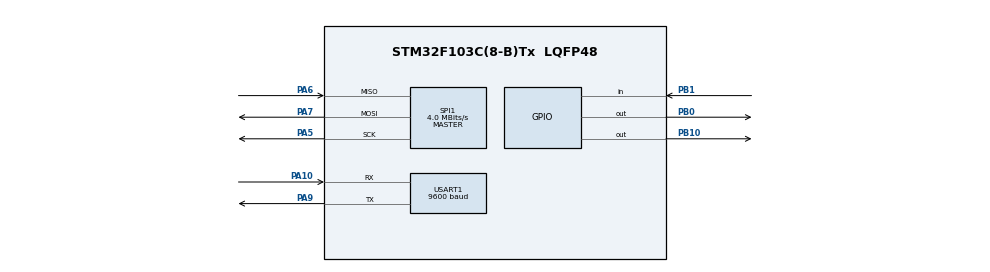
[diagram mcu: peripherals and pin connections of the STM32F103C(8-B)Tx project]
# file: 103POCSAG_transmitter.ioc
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Mcu.Family=STM32F1
Mcu.Name=STM32F103C(8-B)Tx
Mcu.Package=LQFP48
NVIC.PriorityGroup=NVIC_PRIORITYGROUP_4
PA10.Mode=Asynchronous
PA10.Signal=USART1_RX
PA5.Mode=Full_Duplex_Master
PA5.Signal=SPI1_SCK
PA6.Mode=Full_Duplex_Master
PA6.Signal=SPI1_MISO
PA7.Mode=Full_Duplex_Master
PA7.Signal=SPI1_MOSI
PA9.Mode=Asynchronous
PA9.Signal=USART1_TX
PB0.Signal=GPIO_Output
PB1.Signal=GPIO_Input
PB10.Signal=GPIO_Output
PC14-OSC32_IN.Mode=LSE-External-Oscillator
PC14-OSC32_IN.Signal=RCC_OSC32_IN
PC15-OSC32_OUT.Mode=LSE-External-Oscillator
PC15-OSC32_OUT.Signal=RCC_OSC32_OUT
PD0-OSC_IN.Mode=HSE-External-Oscillator
PD0-OSC_IN.Signal=RCC_OSC_IN
PD1-OSC_OUT.Mode=HSE-External-Oscillator
PD1-OSC_OUT.Signal=RCC_OSC_OUT
ProjectManager.HeapSize=0x200
ProjectManager.StackSize=0x400
ProjectManager.TargetToolchain=STM32CubeIDE
RCC.APB1Freq_Value=8000000
RCC.APB2Freq_Value=8000000
SPI1.CalculateBaudRate=4.0 MBits/s
SPI1.Direction=SPI_DIRECTION_2LINES
SPI1.Mode=SPI_MODE_MASTER
SPI1.VirtualType=VM_MASTER
USART1.BaudRate=9600
USART1.VirtualMode=VM_ASYNC
VP_SYS_VS_ND.Mode=No_Debug
board=custom

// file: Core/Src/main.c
/* USER CODE BEGIN Header */
/**
  ******************************************************************************
  * @file           : main.c
  * @brief          : Main program body
  ******************************************************************************
  * @attention
  *
  * Copyright (c) 2025 STMicroelectronics.
  * All rights reserved.
  *
  * This software is licensed under terms that can be found in the LICENSE file
  * in the root directory of this software component.
  * If no LICENSE file comes with this software, it is provided AS-IS.
  *
  ******************************************************************************
  */
/* USER CODE END Header */
#include "main.h"

/* USER CODE BEGIN Includes */
#include "pocsag.h"
#include "si4463_driver.h"
#include <string.h>
#include <stdio.h>
#include <stdarg.h>
/* USER CODE END Includes */

/* USER CODE BEGIN PD */
#define TXBUFLEN 256
#define SI4463_SDN_PORT    GPIOB
#define SI4463_SDN_PIN     GPIO_PIN_0
#define SI4463_NIRQ_PORT   GPIOB
#define SI4463_NIRQ_PIN    GPIO_PIN_1
#define SI4463_CS_PORT     GPIOB
#define SI4463_CS_PIN      GPIO_PIN_10
/* USER CODE END PD */

SPI_HandleTypeDef hspi1;

UART_HandleTypeDef huart1;

/* USER CODE BEGIN PV */
static char txBuff[TXBUFLEN];
Pocsag_t pocsag;
/* USER CODE END PV */

void SystemClock_Config(void);
static void MX_GPIO_Init(void);
static void MX_SPI1_Init(void);
static void MX_USART1_UART_Init(void);
/* USER CODE BEGIN PFP */
void setupSI4463(void);
void processPOCSAGCommand(void);
void parseAndSendPOCSAG(char* command);
void parseAndSetFrequency(char* command);
void transmitPOCSAGWithSI4463(long address, int addresssource, int repeat, char* textmsg);
void uart_print(const char* message);
void uart_printf(const char* format, ...);
/* USER CODE END PFP */

/* USER CODE BEGIN 0 */
// Simple UART print function
void uart_print(const char* message) {
    HAL_UART_Transmit(&huart1, (uint8_t*)message, strlen(message), HAL_MAX_DELAY);
}

// Formatted UART print function
void uart_printf(const char* format, ...) {
    va_list args;
    va_start(args, format);
    int len = vsnprintf(txBuff, TXBUFLEN, format, args);
    va_end(args);

    if (len > 0 && len < TXBUFLEN) {
        HAL_UART_Transmit(&huart1, (uint8_t*)txBuff, len, HAL_MAX_DELAY);
    }
}

// Initialize SI4463
void setupSI4463(void) {
    // Initialize SI4463
    Si4463_Init(&hspi1,
                SI4463_SDN_PORT, SI4463_SDN_PIN,
                SI4463_NIRQ_PORT, SI4463_NIRQ_PIN,
                SI4463_CS_PORT, SI4463_CS_PIN);

    // Set default POCSAG frequency
    Si4463_SetFrequency(433.920f);

    // Configure for POCSAG
    Si4463_ConfigureForPOCSAG();

    uart_print("SI4463 initialized for POCSAG at 433.92 MHz\r\n");
}

// Command processing
void processPOCSAGCommand(void) {
    static uint8_t rx_buffer[256];
    static uint16_t rx_index = 0;
    uint8_t byte;

    while (HAL_UART_Receive(&huart1, &byte, 1, 0) == HAL_OK) {
        if (byte == '\r' || byte == '\n') {
            if (rx_index > 0) {
                rx_buffer[rx_index] = '\0';

                // Echo the command
                uart_print("\r\n");

                // Process command
                if (rx_buffer[0] == 'P' || rx_buffer[0] == 'p') {
                    parseAndSendPOCSAG((char*)rx_buffer);
                } else if (rx_buffer[0] == 'F' || rx_buffer[0] == 'f') {
                    parseAndSetFrequency((char*)rx_buffer);
                } else {
                    uart_print("Unknown command. Use P or F.\r\n");
                }

                rx_index = 0;
            }
        } else if (rx_index < sizeof(rx_buffer) - 1) {
            // Echo character back
            HAL_UART_Transmit(&huart1, &byte, 1, HAL_MAX_DELAY);
            rx_buffer[rx_index++] = byte;
        }
    }
}

void parseAndSendPOCSAG(char* command) {
    long address = 0;
    int addresssource = 0;
    int repeat = 0;
    char textmsg[42] = {0};

    // Parse command: P <address> <source> <repeat> <message>
    if (sscanf(command, "%*c %ld %d %d %40[^\n]",
               &address, &addresssource, &repeat, textmsg) == 4) {

        uart_printf("address: %ld\r\n", address);
        uart_printf("addresssource: %d\r\n", addresssource);
        uart_printf("repeat: %d\r\n", repeat);
        uart_printf("message: %s\r\n", textmsg);

        transmitPOCSAGWithSI4463(address, addresssource, repeat, textmsg);
    } else {
        uart_print("Invalid P command format. Use: P <address> <source> <repeat> <message>\r\n");
        uart_print("Example: P 123456 0 1 \"Hello World\"\r\n");
    }
}

void transmitPOCSAGWithSI4463(long address, int addresssource, int repeat, char* textmsg) {
    int rc = Pocsag_CreatePocsag(&pocsag, address, addresssource, textmsg, 0, 1);

    if (!rc) {
        uart_printf("Error in createpocsag! Error: %d\r\n", Pocsag_GetError(&pocsag));
        HAL_Delay(10000);
    } else {
        uint8_t* pocsagData = (uint8_t*)Pocsag_GetMsgPointer(&pocsag);
        uint16_t pocsagSize = Pocsag_GetSize(&pocsag);

        uart_printf("POCSAG message created: %d bytes\r\n", pocsagSize);

        for (int l = -1; l < repeat; l++) {
            uart_printf("POCSAG SEND with SI4463 (transmission %d)\r\n", l + 2);

            // Transmit using SI4463
            Si4463_TransmitPOCSAG(pocsagData, pocsagSize);

            HAL_Delay(3000);
        }

        uart_print("Transmission complete\r\n");
    }
}

void parseAndSetFrequency(char* command) {
    int freq1 = 0, freq2 = 0;

    if (sscanf(command, "%*c %d %d", &freq1, &freq2) == 2) {
        float newfreq = (float)freq1 + ((float)freq2) / 10000.0F;

        // Validate frequency range
        if ((newfreq >= 135.0F && newfreq <= 175.0F) ||
            (newfreq >= 400.0F && newfreq <= 470.0F) ||
            (newfreq >= 850.0F && newfreq <= 930.0F)) {

            uart_printf("Switching to new frequency: %.4f MHz\r\n", newfreq);

            // Update SI4463 frequency
            Si4463_SetFrequency(newfreq);

            uart_print("Frequency set successfully\r\n");
        } else {
            uart_print("Error: invalid frequency range.\r\n");
            uart_print("Valid ranges: 135-175 MHz, 400-470 MHz, 850-930 MHz\r\n");
        }
    } else {
        uart_print("Invalid F command format. Use: F <freqmhz> <freq100Hz>\r\n");
        uart_print("Example: F 433 9200 for 433.9200 MHz\r\n");
    }
}
/* USER CODE END 0 */

int main(void)
{

  /* MCU Configuration--------------------------------------------------------*/

  /* Reset of all peripherals, Initializes the Flash interface and the Systick. */
  HAL_Init();

  /* Configure the system clock */
  SystemClock_Config();

  /* Initialize all configured peripherals */
  MX_GPIO_Init();
  MX_SPI1_Init();
  MX_USART1_UART_Init();
  /* USER CODE BEGIN 2 */
  // Initialize POCSAG
  Pocsag_Init(&pocsag);

  setupSI4463();

  uart_print("\r\nPOCSAG text-message tool v0.1 (STM32F103 + SI4463)\r\n");
  uart_print("https://github.com/on1arf/pocsag\r\n");
  uart_print("Format:\r\n");
  uart_print("P <address> <source> <repeat> <message>\r\n");
  uart_print("F <freqmhz> <freq100Hz>\r\n");
  /* USER CODE END 2 */

  /* Infinite loop */
  /* USER CODE BEGIN WHILE */
  while (1)
  {
    processPOCSAGCommand();
    HAL_Delay(100);
    /* USER CODE END WHILE */

  }
}

void SystemClock_Config(void)
{
  RCC_OscInitTypeDef RCC_OscInitStruct = {0};
  RCC_ClkInitTypeDef RCC_ClkInitStruct = {0};

  /** Initializes the RCC Oscillators according to the specified parameters
  * in the RCC_OscInitTypeDef structure.
  */
  RCC_OscInitStruct.OscillatorType = RCC_OSCILLATORTYPE_HSI;
  RCC_OscInitStruct.HSIState = RCC_HSI_ON;
  RCC_OscInitStruct.HSICalibrationValue = RCC_HSICALIBRATION_DEFAULT;
  RCC_OscInitStruct.PLL.PLLState = RCC_PLL_NONE;
  if (HAL_RCC_OscConfig(&RCC_OscInitStruct) != HAL_OK)
  {
    Error_Handler();
  }

  /** Initializes the CPU, AHB and APB buses clocks
  */
  RCC_ClkInitStruct.ClockType = RCC_CLOCKTYPE_HCLK|RCC_CLOCKTYPE_SYSCLK
                              |RCC_CLOCKTYPE_PCLK1|RCC_CLOCKTYPE_PCLK2;
  RCC_ClkInitStruct.SYSCLKSource = RCC_SYSCLKSOURCE_HSI;
  RCC_ClkInitStruct.AHBCLKDivider = RCC_SYSCLK_DIV1;
  RCC_ClkInitStruct.APB1CLKDivider = RCC_HCLK_DIV1;
  RCC_ClkInitStruct.APB2CLKDivider = RCC_HCLK_DIV1;

  if (HAL_RCC_ClockConfig(&RCC_ClkInitStruct, FLASH_LATENCY_0) != HAL_OK)
  {
    Error_Handler();
  }
}

static void MX_SPI1_Init(void)
{

  /* SPI1 parameter configuration*/
  hspi1.Instance = SPI1;
  hspi1.Init.Mode = SPI_MODE_MASTER;
  hspi1.Init.Direction = SPI_DIRECTION_2LINES;
  hspi1.Init.DataSize = SPI_DATASIZE_8BIT;
  hspi1.Init.CLKPolarity = SPI_POLARITY_LOW;
  hspi1.Init.CLKPhase = SPI_PHASE_1EDGE;
  hspi1.Init.NSS = SPI_NSS_SOFT;
  hspi1.Init.BaudRatePrescaler = SPI_BAUDRATEPRESCALER_2;
  hspi1.Init.FirstBit = SPI_FIRSTBIT_MSB;
  hspi1.Init.TIMode = SPI_TIMODE_DISABLE;
  hspi1.Init.CRCCalculation = SPI_CRCCALCULATION_DISABLE;
  hspi1.Init.CRCPolynomial = 10;
  if (HAL_SPI_Init(&hspi1) != HAL_OK)
  {
    Error_Handler();
  }

}

static void MX_USART1_UART_Init(void)
{

  huart1.Instance = USART1;
  huart1.Init.BaudRate = 9600;
  huart1.Init.WordLength = UART_WORDLENGTH_8B;
  huart1.Init.StopBits = UART_STOPBITS_1;
  huart1.Init.Parity = UART_PARITY_NONE;
  huart1.Init.Mode = UART_MODE_TX_RX;
  huart1.Init.HwFlowCtl = UART_HWCONTROL_NONE;
  huart1.Init.OverSampling = UART_OVERSAMPLING_16;
  if (HAL_UART_Init(&huart1) != HAL_OK)
  {
    Error_Handler();
  }

}

static void MX_GPIO_Init(void)
{
  GPIO_InitTypeDef GPIO_InitStruct = {0};

  /* GPIO Ports Clock Enable */
  __HAL_RCC_GPIOC_CLK_ENABLE();
  __HAL_RCC_GPIOD_CLK_ENABLE();
  __HAL_RCC_GPIOA_CLK_ENABLE();
  __HAL_RCC_GPIOB_CLK_ENABLE();

  /*Configure GPIO pin Output Level */
  HAL_GPIO_WritePin(GPIOB, GPIO_PIN_0|GPIO_PIN_10, GPIO_PIN_RESET);

  /*Configure GPIO pins : PB0 PB10 */
  GPIO_InitStruct.Pin = GPIO_PIN_0|GPIO_PIN_10;
  GPIO_InitStruct.Mode = GPIO_MODE_OUTPUT_PP;
  GPIO_InitStruct.Pull = GPIO_NOPULL;
  GPIO_InitStruct.Speed = GPIO_SPEED_FREQ_LOW;
  HAL_GPIO_Init(GPIOB, &GPIO_InitStruct);

  /*Configure GPIO pin : PB1 */
  GPIO_InitStruct.Pin = GPIO_PIN_1;
  GPIO_InitStruct.Mode = GPIO_MODE_INPUT;
  GPIO_InitStruct.Pull = GPIO_NOPULL;
  HAL_GPIO_Init(GPIOB, &GPIO_InitStruct);

  /* USER CODE BEGIN MX_GPIO_Init_2 */
  // Configure additional SI4463 pins
  // PB1 as input (NIRQ)
  GPIO_InitStruct.Pin = GPIO_PIN_1;
  GPIO_InitStruct.Mode = GPIO_MODE_INPUT;
  GPIO_InitStruct.Pull = GPIO_NOPULL;
  HAL_GPIO_Init(GPIOB, &GPIO_InitStruct);

  // PB10 as output (CS)
  GPIO_InitStruct.Pin = GPIO_PIN_10;
  GPIO_InitStruct.Mode = GPIO_MODE_OUTPUT_PP;
  GPIO_InitStruct.Pull = GPIO_NOPULL;
  GPIO_InitStruct.Speed = GPIO_SPEED_FREQ_HIGH;
  HAL_GPIO_Init(GPIOB, &GPIO_InitStruct);

  // Set initial CS state high
  HAL_GPIO_WritePin(GPIOB, GPIO_PIN_10, GPIO_PIN_SET);
  /* USER CODE END MX_GPIO_Init_2 */
}

void Error_Handler(void)
{
  __disable_irq();
  while (1)
  {
  }
}
